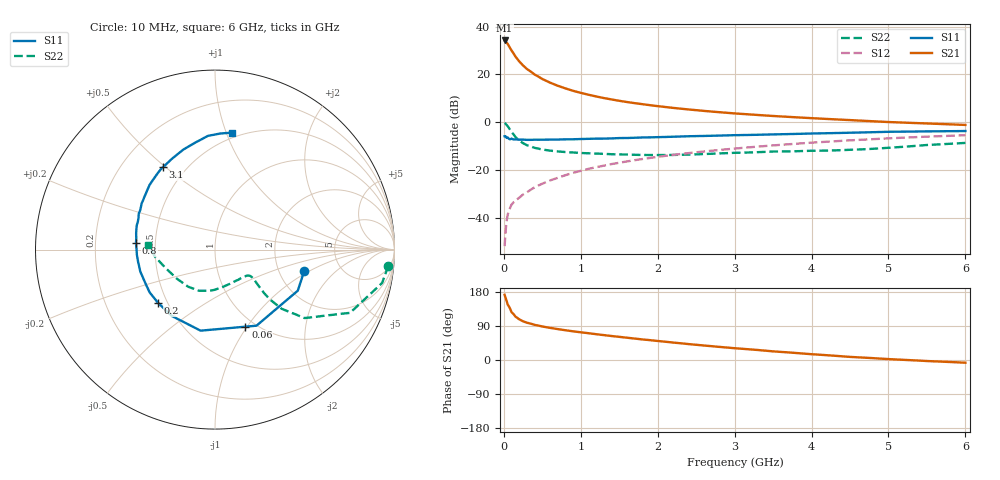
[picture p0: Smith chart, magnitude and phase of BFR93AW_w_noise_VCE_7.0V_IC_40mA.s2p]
! Infineon Technologies  Discrete & RF Semiconductors
! BFR93AW
! VCE =  7.0 V,  IC =  40 mA
! Common Emitter S-Parameters:  Jan 2017
# GHz  S  MA  R  50
!  f  S11  S21  S12  S22
! GHz  MAG  ANG  MAG  ANG  MAG  ANG  MAG  ANG
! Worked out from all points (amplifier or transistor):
!   77 points, 10 MHz to 6 GHz, reference 50 ohm
!   highest |S21| = 34.2 dB at 10 MHz (marker M1)
!   |S21| within 3 dB of that: start of sweep to 78.15 MHz
!   unconditionally stable (mu >= 1): 547.8 MHz to 2.028 GHz
!   at 130 MHz: K = 0.56, MSG = 30.9 dB, |S12| = -33.3 dB
!   at 2.2 GHz: K = 0.99, MSG = 9.8 dB, |S12| = -13.6 dB
!   at 6 GHz: K = 0.87, MSG = 2.2 dB, |S12| = -5.4 dB
!   lowest NFmin = 2.04 dB at 450 MHz
!   S11 on the Smith chart (normalised r, x): 10 MHz: 2.77, -0.89; 60 MHz: 0.90, -0.98; 200 MHz: 0.44, -0.32; 800 MHz: 0.39, +0.03; 3.1 GHz: 0.38, +0.49; 6 GHz: 0.46, +1.05
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0.01  0.5114 -13.4  51.19 172.0  0.0026 82.8  0.9699 -5.4
0.02  0.5149 -26.4  50.42 165.2  0.0046 81.7  0.9494 -11.3
0.05  0.4829 -61.4  43.41 146.4  0.0118 68.2  0.8308 -25.1
0.06  0.4615 -68.5  40.73 143.3  0.0133 66.4  0.7878 -27.0
0.1  0.4587 -100.1  31.68 126.2  0.0192 61.9  0.6279 -37.4
0.15  0.441 -123.0  23.77 114.7  0.0233 59.9  0.4962 -41.6
0.2  0.4345 -137.0  18.72 107.4  0.0267 61.6  0.417 -42.2
0.25  0.4353 -146.8  15.39 102.1  0.0312 63.0  0.3675 -41.6
0.3  0.4308 -153.8  12.99 98.4  0.0346 64.1  0.333 -40.5
0.4  0.4338 -163.6  9.96 92.7  0.044 67.2  0.2936 -38.6
0.5  0.4337 -170.8  8.03 88.4  0.0523 68.9  0.2707 -37.3
0.6  0.4363 -176.3  6.752 84.8  0.0611 69.6  0.2566 -36.7
0.7  0.4372 179.4  5.813 81.6  0.0694 71.1  0.247 -36.7
0.8  0.4417 175.4  5.111 78.5  0.0788 71.3  0.24 -37.2
0.9  0.4432 171.8  4.552 75.7  0.0883 70.8  0.2346 -38.2
1.1  0.4525 165.4  3.769 70.7  0.1069 70.8  0.2259 -40.8
1.5  0.4692 154.9  2.816 61.1  0.1433 69.0  0.2137 -49.3
2.1  0.4952 141.3  2.089 48.2  0.1997 64.7  0.2079 -67.9
3.1  0.5425 122.4  1.498 29.6  0.2925 55.8  0.2329 -100.1
4.1  0.5884 106.0  1.2 14.0  0.385 45.7  0.2558 -129.3
5.1  0.637 92.2  1.001 1.4  0.4708 34.9  0.3014 -162.8
6  0.6585 81.6  0.883 -7.2  0.538 24.7  0.3721 176.4
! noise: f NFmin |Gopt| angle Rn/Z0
0.45  2.04  0.23  -180  0.16
0.9  2.33  0.29  -170  0.17
1.9  3.4  0.52  -133  0.35
2.4  4.1  0.57  -123  0.66
